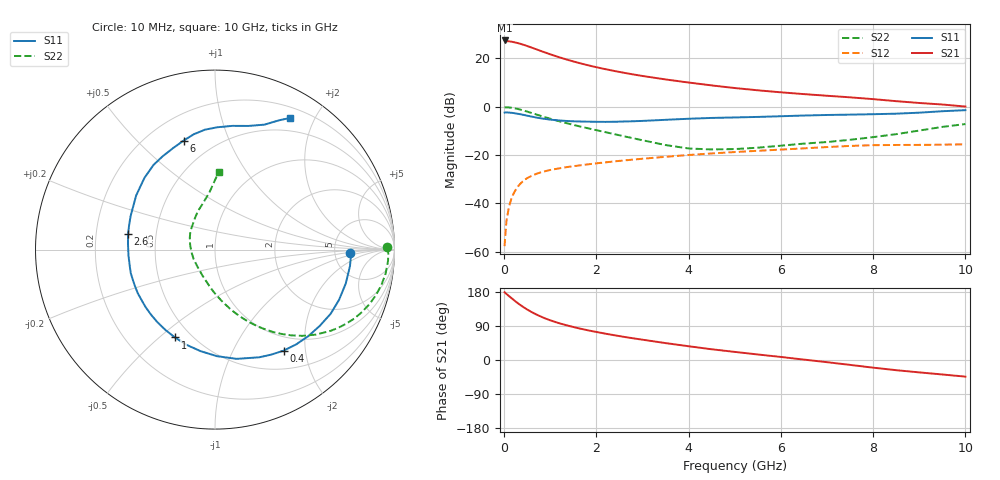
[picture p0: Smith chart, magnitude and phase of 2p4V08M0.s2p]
! (c) 2009  Infineon Technologies AG, Munich
! Infineon Technologies  Discrete & RF Semiconductors
! BFP420
! VCE =  4.0 V,  IC =  8.0 mA
! Common Emitter S-Parameters:  Nov 2009
# GHz  S  MA  R  50
!  f  S11  S21  S12  S22
! GHz  MAG  ANG  MAG  ANG  MAG  ANG  MAG  ANG
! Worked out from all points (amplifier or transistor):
!   46 points, 10 MHz to 10 GHz, reference 50 ohm
!   highest |S21| = 27.4 dB at 10 MHz (marker M1)
!   |S21| within 3 dB of that: start of sweep to 602.7 MHz
!   unconditionally stable (mu >= 1): start of sweep to 13.88 MHz; 2.584 GHz to end of sweep
!   at 300 MHz: K = 0.20, MSG = 29.6 dB, |S12| = -33.0 dB
!   at 1.7 GHz: K = 0.74, MSG = 20.9 dB, |S12| = -24.2 dB
!   at 10 GHz: K = 1.10, MAG = 5.9 dB, |S12| = -15.6 dB
!   lowest NFmin = 0.79 dB at 900 MHz
!   S11 on the Smith chart (normalised r, x): 10 MHz: 7.05, -0.56; 400 MHz: 0.77, -1.61; 1 GHz: 0.41, -0.56; 2.6 GHz: 0.34, +0.08; 6 GHz: 0.34, +0.69; 10 GHz: 0.33, +1.67
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0.01  0.753 -1.3  23.31 178.8  0.0013 29.5  0.9611 0.7
0.02  0.7585 -2.7  22.61 177.5  0.0019 52.5  0.9658 -1.4
0.1  0.7526 -14.6  22.4 169.2  0.0081 74.7  0.9599 -8.0
0.2  0.737 -29.0  21.63 159.2  0.0156 71.8  0.9319 -15.8
0.3  0.7089 -42.9  20.53 149.6  0.0223 67.3  0.8902 -23.0
0.4  0.6805 -55.8  19.24 141.0  0.0282 62.6  0.8402 -29.4
0.5  0.6486 -67.7  17.87 133.2  0.0332 58.4  0.7873 -35.1
0.6  0.6205 -78.8  16.54 126.2  0.0373 54.6  0.7351 -40.1
0.7  0.5938 -89.0  15.27 119.9  0.0408 51.7  0.6856 -44.5
0.9  0.5538 -106.6  13.02 109.3  0.0465 47.1  0.5989 -51.7
1  0.538 -114.5  12.07 104.8  0.0489 45.5  0.5608 -54.9
1.3  0.5084 -134.6  9.75 93.4  0.055 41.9  0.4678 -62.8
1.7  0.49 -155.7  7.644 81.4  0.062 38.8  0.3772 -71.6
2.2  0.4832 -176.2  5.932 69.4  0.0704 36.1  0.2956 -81.5
2.6  0.4921 169.9  4.997 61.0  0.077 34.0  0.2432 -90.3
3.5  0.5329 145.5  3.643 44.6  0.0916 29.1  0.1602 -116.1
4.5  0.5829 126.0  2.742 28.3  0.1075 22.6  0.1301 -157.4
5.5  0.6116 112.5  2.171 14.6  0.1219 16.0  0.1413 168.8
6  0.6319 106.1  1.974 8.0  0.129 12.8  0.1555 154.6
7  0.6708 94.7  1.676 -5.8  0.1455 5.2  0.1851 132.6
8.5  0.714 74.8  1.295 -26.9  0.1608 -10.0  0.2692 104.0
10  0.8436 60.4  1.002 -43.9  0.166 -20.0  0.4354 87.1
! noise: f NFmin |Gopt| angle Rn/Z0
0.9  0.79  0.08  30  0.13
1.8  1.14  0.06  171  0.12
2.4  1.24  0.1  160  0.13
3  1.32  0.17  -165  0.12
4  1.46  0.32  -132  0.14
5  1.85  0.39  -110  0.25
6  2.3  0.46  -95  0.37
